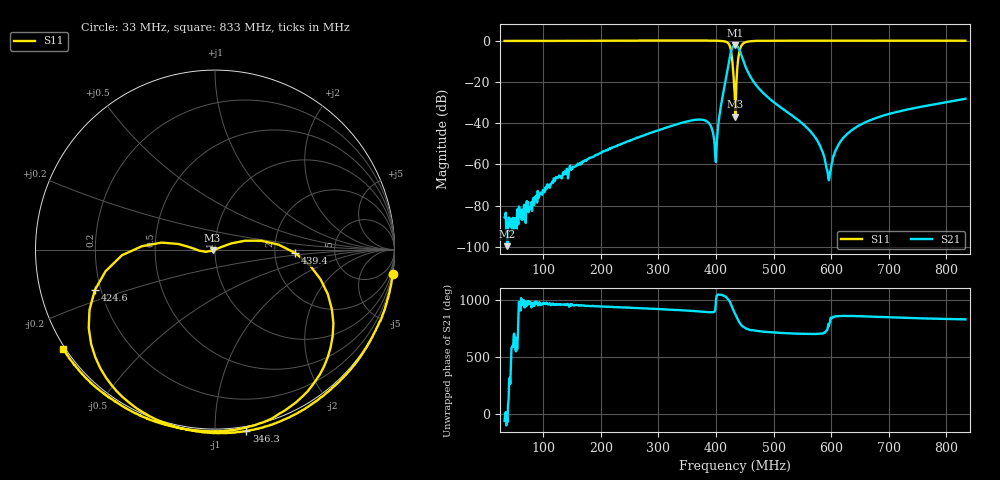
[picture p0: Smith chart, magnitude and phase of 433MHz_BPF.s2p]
# HZ S RI R 50
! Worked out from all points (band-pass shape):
!   808 points, 33 MHz to 833 MHz, reference 50 ohm
!   highest |S21| = -2.10 dB at 433.5 MHz (marker M1); lowest = -99.7 dB at 37.96 MHz (marker M2)
!   |S21| within 3 dB of the highest: 426.2 MHz to 441.7 MHz (15.49 MHz wide, 3.57 % of centre)
!   lowest |S11| = -36.8 dB at 433.5 MHz (marker M3), VSWR 1.03, Z = 48.7 - j0.486 ohm
!   |S11| at or under -10 dB: 428.4 MHz to 438.1 MHz (9.702 MHz wide, 2.24 % of centre)
!   S12 and S22 are empty: the file has one direction only
!   S11 on the Smith chart (normalised r, x): 33 MHz: 0, -15; 346.3 MHz: -0.03, -1.19; 424.6 MHz: 0.18, -0.16; 439.4 MHz: 2.61, -0.12; 833 MHz: -0.01, -0.30
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3.3e7  0.9904 -0.1369  2.4e-05 -4.63e-05  0 0  0 0
3.795663e7  0.9881 -0.157  2.79e-06 -1e-05  0 0  0 0
8.058365e7  0.9479 -0.3276  -3.19e-05 -6.72e-05  0 0  0 0
1.66829e8  0.7841 -0.632  -0.000726 -0.000817  0 0  0 0
2.996667e8  0.3723 -0.9529  -0.00639 -0.00211  0 0  0 0
3.46259e8  0.1753 -1.011  -0.0107 -0.00112  0 0  0 0
3.839294e8  -0.047 -1.019  -0.011 0.00155  0 0  0 0
3.997906e8  -0.2034 -0.9914  -0.000158 -0.00114  0 0  0 0
4.156518e8  -0.5138 -0.8225  0.0587 -0.0701  0 0  0 0
4.245738e8  -0.6696 -0.2259  -0.1042 -0.4244  0 0  0 0
4.295304e8  -0.2047 0.0315  -0.6997 -0.2087  0 0  0 0
4.334957e8  -0.0137 -0.00499  -0.6897 0.3753  0 0  0 0
4.394437e8  0.4459 -0.0185  -0.0262 0.6603  0 0  0 0
4.503482e8  0.5608 -0.7304  0.2156 0.1362  0 0  0 0
4.652181e8  0.27 -0.9616  0.1004 0.0208  0 0  0 0
5.663334e8  -0.2812 -0.9746  0.0055 -0.00197  0 0  0 0
5.821946e8  -0.3301 -0.9597  0.00244 -0.00074  0 0  0 0
5.960732e8  -0.3719 -0.9431  0.00026 0.00032  0 0  0 0
6.079691e8  -0.4056 -0.93  -0.00161 0.0016  0 0  0 0
6.248216e8  -0.4512 -0.908  -0.00375 0.00337  0 0  0 0
7.001624e8  -0.6312 -0.7921  -0.00981 0.0136  0 0  0 0
8.330001e8  -0.8451 -0.5532  -0.0119 0.0376  0 0  0 0
